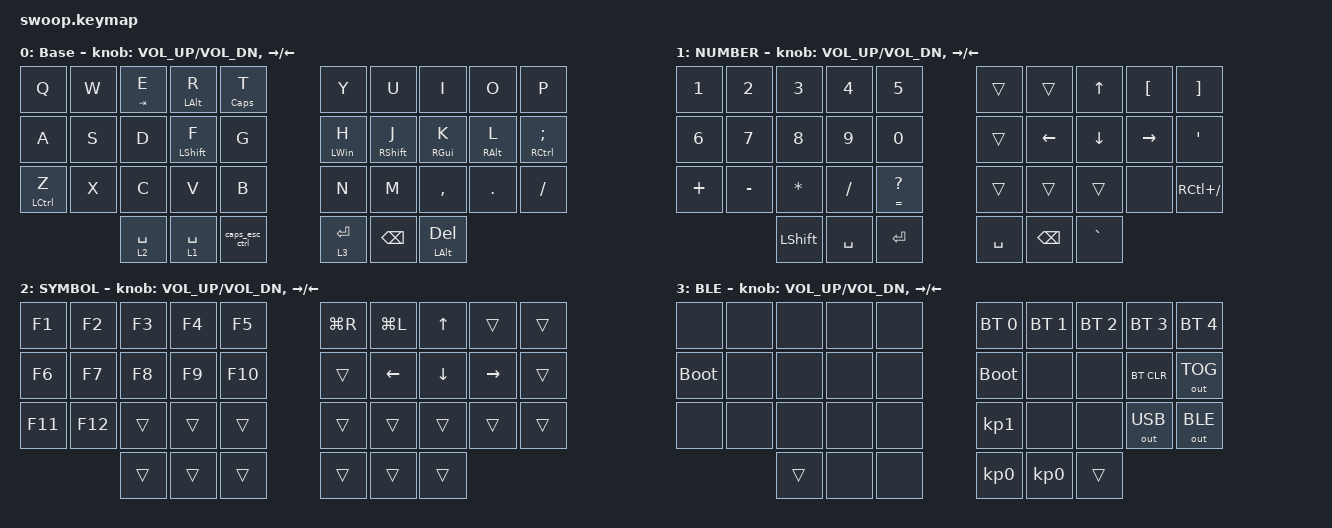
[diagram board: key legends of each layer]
/*
 * Copyright (c) 2020 duckyb
 *
 * SPDX-License-Identifier: MIT
 */

#include <behaviors.dtsi>
#include <dt-bindings/zmk/bt.h>
#include <dt-bindings/zmk/keys.h>
#include <dt-bindings/zmk/outputs.h>

/ {
    behaviors {
        tab_esc_ctrl: tab_esc_ctrl {
            compatible = "zmk,behavior-tap-dance";
            label = "TAB_ESC_CTRL";
            #binding-cells = <0>;
            bindings = <&mt LCTRL ESC>, <&kp TAB>;
        };

        gqt: global-quick-tap {
            compatible = "zmk,behavior-hold-tap";
            label = "GLOBAL_QUICK_TAP";
            bindings = <&kp>, <&kp>;

            #binding-cells = <2>;
            quick-tap-ms = <180>;
            tapping-term-ms = <200>;
            global-quick-tap;
            flavor = "tap-preferred";
        };

        ltq: ltq {
            compatible = "zmk,behavior-hold-tap";
            label = "LTQ";
            bindings = <&mo>, <&kp>;

            #binding-cells = <2>;
            global-quick-tap;
            tapping-term-ms = <200>;
            quick-tap-ms = <180>;
        };

        caps_esc_ctrl: caps_esc_ctrl {
            compatible = "zmk,behavior-tap-dance";
            label = "CAPS_ESC_CTRL";
            #binding-cells = <0>;
            bindings = <&mt LCTRL ESC>, <&kp CLCK>;
        };
    };

    combos {
        compatible = "zmk,combos";

        left_bkt {
            bindings = <&kp LEFT_PARENTHESIS>;
            key-positions = <2 1>;
            timeout-ms = <50>;
        };

        right_bkt {
            bindings = <&kp RIGHT_PARENTHESIS>;
            key-positions = <11 12>;
            timeout-ms = <50>;
        };

        left_par {
            bindings = <&kp LEFT_BRACKET>;
            key-positions = <8 9>;
            timeout-ms = <50>;
        };

        right_par {
            bindings = <&kp RIGHT_BRACKET>;
            key-positions = <18 19>;
            timeout-ms = <50>;
        };

        left_brace {
            bindings = <&kp LEFT_BRACE>;
            key-positions = <25 26>;
            timeout-ms = <50>;
        };

        right_brace {
            bindings = <&kp RIGHT_BRACE>;
            key-positions = <27 28>;
            timeout-ms = <50>;
        };

        bac {
            bindings = <&kp BACKSLASH>;
            key-positions = <4 5>;
        };

        pipe {
            bindings = <&kp PIPE>;
            key-positions = <14 15>;
        };
    };

    macros {
    };

    keymap {
        compatible = "zmk,keymap";

        base {
            label = "Base";
            bindings = <
&kp Q         &kp W  &gqt TAB E   &gqt LEFT_ALT R    &gqt CAPSLOCK T    &kp Y            &kp U               &kp I              &kp O        &kp P
&kp A         &kp S  &kp D        &gqt LEFT_SHIFT F  &kp G              &gqt LEFT_WIN H  &gqt RIGHT_SHIFT J  &gqt RIGHT_GUI K   &gqt RALT L  &gqt RCTRL SEMICOLON
&gqt LCTRL Z  &kp X  &kp C        &kp V              &kp B              &kp N            &kp M               &kp COMMA          &kp DOT      &kp FSLH
                     &lt 2 SPACE  &lt 1 SPACE        &caps_esc_ctrl     &lt 3 ENTER      &kp BACKSPACE       &gqt LEFT_ALT DEL
            >;

            sensor-bindings = <&inc_dec_kp C_VOL_UP C_VOL_DN &inc_dec_kp RIGHT LEFT>;
        };

        number {
            label = "NUMBER";
            bindings = <
&kp NUMBER_1  &kp N2     &kp N3          &kp N4     &kp N5                 &trans     &trans         &kp UP_ARROW  &kp LEFT_BRACKET  &kp RIGHT_BRACKET
&kp NUMBER_6  &kp N7     &kp N8          &kp N9     &kp N0                 &trans     &kp LEFT       &kp DOWN      &kp RIGHT         &kp SQT
&kp PLUS      &kp MINUS  &kp ASTERISK    &kp SLASH  &gqt EQUAL QUESTION    &trans     &trans         &trans        &none             &kp RC(SLASH)
                         &kp LEFT_SHIFT  &kp SPACE  &kp ENTER              &kp SPACE  &kp BACKSPACE  &kp GRAVE
            >;

            sensor-bindings = <&inc_dec_kp C_VOL_UP C_VOL_DN &inc_dec_kp RIGHT LEFT>;
        };

        symbol {
            label = "SYMBOL";
            bindings = <
&kp F1   &kp F2   &kp F3  &kp F4  &kp F5     &kp LG(R)  &kp LG(L)       &kp UP    &trans     &trans
&kp F6   &kp F7   &kp F8  &kp F9  &kp F10    &trans     &kp LEFT_ARROW  &kp DOWN  &kp RIGHT  &trans
&kp F11  &kp F12  &trans  &trans  &trans     &trans     &trans          &trans    &trans     &trans
                  &trans  &trans  &trans     &trans     &trans          &trans
            >;

            sensor-bindings = <&inc_dec_kp C_VOL_UP C_VOL_DN &inc_dec_kp RIGHT LEFT>;
        };

        ble {
            label = "BLE";
            bindings = <
&none        &none  &none   &none  &none    &bt BT_SEL 0  &bt BT_SEL 1  &bt BT_SEL 2  &bt BT_SEL 3  &bt BT_SEL 4
&bootloader  &none  &none   &none  &none    &bootloader   &none         &none         &bt BT_CLR    &out OUT_TOG
&none        &none  &none   &none  &none    &kp KP_N1     &none         &none         &out OUT_USB  &out OUT_BLE
                    &trans  &none  &none    &kp KP_N0     &kp KP_N0     &trans
            >;

            sensor-bindings = <&inc_dec_kp C_VOL_UP C_VOL_DN &inc_dec_kp RIGHT LEFT>;
        };
    };
};
